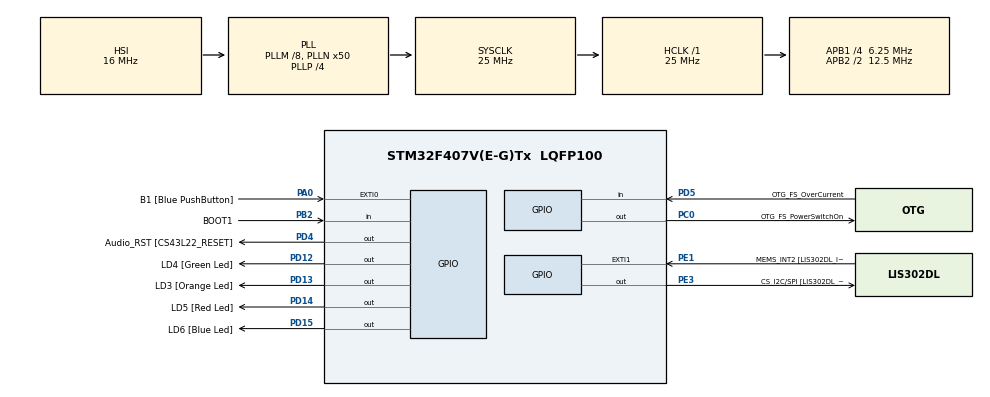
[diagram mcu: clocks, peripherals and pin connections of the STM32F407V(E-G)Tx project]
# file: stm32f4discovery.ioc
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Mcu.Family=STM32F4
Mcu.Name=STM32F407V(E-G)Tx
Mcu.Package=LQFP100
NVIC.PriorityGroup=NVIC_PRIORITYGROUP_0
PA0-WKUP.GPIO_Label=B1 [Blue PushButton]
PA0-WKUP.Signal=GPXTI0
PA10.GPIO_Label=OTG_FS_ID
PA10.GPIO_Mode=GPIO_MODE_AF_PP
PA10.GPIO_PuPd=GPIO_NOPULL
PA10.GPIO_Speed=GPIO_SPEED_FREQ_LOW
PA10.Signal=USB_OTG_FS_ID
PA11.GPIO_Label=OTG_FS_DM
PA11.GPIO_Mode=GPIO_MODE_AF_PP
PA11.GPIO_PuPd=GPIO_NOPULL
PA11.GPIO_Speed=GPIO_SPEED_FREQ_LOW
PA11.Signal=USB_OTG_FS_DM
PA12.GPIO_Label=OTG_FS_DP
PA12.GPIO_Mode=GPIO_MODE_AF_PP
PA12.GPIO_PuPd=GPIO_NOPULL
PA12.GPIO_Speed=GPIO_SPEED_FREQ_LOW
PA12.Signal=USB_OTG_FS_DP
PA13.GPIO_Label=SWDIO
PA13.Signal=SYS_JTMS-SWDIO
PA14.GPIO_Label=SWCLK
PA14.Signal=SYS_JTCK-SWCLK
PA4.GPIO_Label=I2S3_WS [CS43L22_LRCK]
PA4.GPIO_Mode=GPIO_MODE_AF_PP
PA4.GPIO_PuPd=GPIO_NOPULL
PA4.GPIO_Speed=GPIO_SPEED_FREQ_LOW
PA4.Signal=I2S3_WS
PA5.GPIO_Label=SPI1_SCK [LIS302DL_SCL/SPC]
PA5.GPIO_Mode=GPIO_MODE_AF_PP
PA5.GPIO_PuPd=GPIO_NOPULL
PA5.GPIO_Speed=GPIO_SPEED_FREQ_LOW
PA5.Signal=SPI1_SCK
PA6.GPIO_Label=SPI1_MISO [LIS302DL_SDO]
PA6.GPIO_Mode=GPIO_MODE_AF_PP
PA6.GPIO_PuPd=GPIO_NOPULL
PA6.GPIO_Speed=GPIO_SPEED_FREQ_LOW
PA6.Signal=SPI1_MISO
PA7.GPIO_Label=SPI1_MOSI [LIS302DL_SDA/SDI/SDO]
PA7.GPIO_Mode=GPIO_MODE_AF_PP
PA7.GPIO_PuPd=GPIO_NOPULL
PA7.GPIO_Speed=GPIO_SPEED_FREQ_LOW
PA7.Signal=SPI1_MOSI
PA9.GPIO_Label=VBUS_FS
PA9.GPIO_Mode=GPIO_MODE_INPUT
PA9.GPIO_PuPd=GPIO_NOPULL
PA9.Signal=USB_OTG_FS_VBUS
PB10.GPIO_Label=CLK_IN [MP45DT02_CLK]
PB10.GPIO_Mode=GPIO_MODE_AF_PP
PB10.GPIO_PuPd=GPIO_NOPULL
PB10.GPIO_Speed=GPIO_SPEED_FREQ_LOW
PB10.Signal=I2S2_CK
PB2.GPIO_Label=BOOT1
PB2.GPIO_Mode=GPIO_MODE_INPUT
PB2.GPIO_PuPd=GPIO_NOPULL
PB2.Signal=GPIO_Input
PB3.GPIO_Label=SWO
PB3.Signal=SYS_JTDO-SWO
PB6.GPIO_Label=Audio_SCL [CS43L22_SCL]
PB6.GPIO_Mode=GPIO_MODE_AF_OD
PB6.GPIO_PuPd=GPIO_NOPULL
PB6.GPIO_Speed=GPIO_SPEED_FREQ_LOW
PB6.Signal=I2C1_SCL
PB9.GPIO_Label=Audio_SDA [CS43L22_SDA]
PB9.GPIO_Mode=GPIO_MODE_AF_OD
PB9.GPIO_PuPd=GPIO_NOPULL
PB9.GPIO_Speed=GPIO_SPEED_FREQ_LOW
PB9.Signal=I2C1_SDA
PC0.GPIO_Label=OTG_FS_PowerSwitchOn
PC0.GPIO_PuPd=GPIO_NOPULL
PC0.GPIO_Speed=GPIO_SPEED_FREQ_LOW
PC0.PinState=GPIO_PIN_SET
PC0.Signal=GPIO_Output
PC10.GPIO_Label=I2S3_SCK [CS43L22_SCLK]
PC10.GPIO_Mode=GPIO_MODE_AF_PP
PC10.GPIO_PuPd=GPIO_NOPULL
PC10.GPIO_Speed=GPIO_SPEED_FREQ_LOW
PC10.Signal=I2S3_CK
PC12.GPIO_Label=I2S3_SD [CS43L22_SDIN]
PC12.GPIO_Mode=GPIO_MODE_AF_PP
PC12.GPIO_PuPd=GPIO_NOPULL
PC12.GPIO_Speed=GPIO_SPEED_FREQ_LOW
PC12.Signal=I2S3_SD
PC14-OSC32_IN.GPIO_Label=PC14-OSC32_IN
PC14-OSC32_IN.Signal=RCC_OSC32_IN
PC15-OSC32_OUT.GPIO_Label=PC15-OSC32_OUT
PC15-OSC32_OUT.Signal=RCC_OSC32_OUT
PC3.GPIO_Label=PDM_OUT [MP45DT02_DOUT]
PC3.GPIO_Mode=GPIO_MODE_AF_PP
PC3.GPIO_PuPd=GPIO_NOPULL
PC3.GPIO_Speed=GPIO_SPEED_FREQ_LOW
PC3.Signal=I2S2_SD
PC7.GPIO_Label=I2S3_MCK [CS43L22_MCLK]
PC7.GPIO_Mode=GPIO_MODE_AF_PP
PC7.GPIO_PuPd=GPIO_NOPULL
PC7.GPIO_Speed=GPIO_SPEED_FREQ_LOW
PC7.Signal=I2S3_MCK
PD12.GPIO_Label=LD4 [Green Led]
PD12.GPIO_PuPd=GPIO_NOPULL
PD12.GPIO_Speed=GPIO_SPEED_FREQ_LOW
PD12.Signal=GPIO_Output
PD13.GPIO_Label=LD3 [Orange Led]
PD13.GPIO_PuPd=GPIO_NOPULL
PD13.GPIO_Speed=GPIO_SPEED_FREQ_LOW
PD13.Signal=GPIO_Output
PD14.GPIO_Label=LD5 [Red Led]
PD14.GPIO_PuPd=GPIO_NOPULL
PD14.GPIO_Speed=GPIO_SPEED_FREQ_LOW
PD14.Signal=GPIO_Output
PD15.GPIO_Label=LD6 [Blue Led]
PD15.GPIO_PuPd=GPIO_NOPULL
PD15.GPIO_Speed=GPIO_SPEED_FREQ_LOW
PD15.Signal=GPIO_Output
PD4.GPIO_Label=Audio_RST [CS43L22_RESET]
PD4.GPIO_PuPd=GPIO_NOPULL
PD4.GPIO_Speed=GPIO_SPEED_FREQ_LOW
PD4.Signal=GPIO_Output
PD5.GPIO_Label=OTG_FS_OverCurrent
PD5.GPIO_Mode=GPIO_MODE_INPUT
PD5.GPIO_PuPd=GPIO_NOPULL
PD5.Signal=GPIO_Input
PE1.GPIO_Label=MEMS_INT2 [LIS302DL_INT2]
PE1.GPIO_ModeDefaultEXTI=GPIO_MODE_EVT_RISING
PE1.GPIO_PuPd=GPIO_NOPULL
PE1.Signal=GPXTI1
PE3.GPIO_Label=CS_I2C/SPI [LIS302DL_CS_I2C/SPI]
PE3.GPIO_PuPd=GPIO_NOPULL
PE3.GPIO_Speed=GPIO_SPEED_FREQ_LOW
PE3.Signal=GPIO_Output
PH0-OSC_IN.GPIO_Label=PH0-OSC_IN
PH0-OSC_IN.Signal=RCC_OSC_IN
PH1-OSC_OUT.GPIO_Label=PH1-OSC_OUT
PH1-OSC_OUT.Signal=RCC_OSC_OUT
ProjectManager.HeapSize=0x200
ProjectManager.StackSize=0x400
ProjectManager.TargetToolchain=MDK-ARM V5
RCC.48MHZClocksFreq_Value=14285714.285714285
RCC.AHBFreq_Value=25000000
RCC.APB1CLKDivider=RCC_HCLK_DIV4
RCC.APB1Freq_Value=6250000
RCC.APB1TimFreq_Value=12500000
RCC.APB2CLKDivider=RCC_HCLK_DIV2
RCC.APB2Freq_Value=12500000
RCC.APB2TimFreq_Value=25000000
RCC.CortexFreq_Value=25000000
RCC.HCLKFreq_Value=25000000
RCC.HSE_VALUE=8000000
RCC.HSI_VALUE=16000000
RCC.LSE_VALUE=32768
RCC.PLLM=8
RCC.PLLN=50
RCC.PLLP=RCC_PLLP_DIV4
RCC.PLLQ=7
RCC.SYSCLKFreq_VALUE=25000000
RCC.SYSCLKSource=RCC_SYSCLKSOURCE_PLLCLK
RCC.VCOOutputFreq_Value=100000000
board=STM32F4DISCOVERY

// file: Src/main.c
/**
  ******************************************************************************
  * File Name          : main.c
  * Description        : Main program body
  ******************************************************************************
  ** This notice applies to any and all portions of this file
  * that are not between comment pairs USER CODE BEGIN and
  * USER CODE END. Other portions of this file, whether
  * inserted by the user or by software development tools
  * are owned by their respective copyright owners.
  *
  * COPYRIGHT(c) 2018 STMicroelectronics
  *
  * Redistribution and use in source and binary forms, with or without modification,
  * are permitted provided that the following conditions are met:
  *   1. Redistributions of source code must retain the above copyright notice,
  *      this list of conditions and the following disclaimer.
  *   2. Redistributions in binary form must reproduce the above copyright notice,
  *      this list of conditions and the following disclaimer in the documentation
  *      and/or other materials provided with the distribution.
  *   3. Neither the name of STMicroelectronics nor the names of its contributors
  *      may be used to endorse or promote products derived from this software
  *      without specific prior written permission.
  *
  * THIS SOFTWARE IS PROVIDED BY THE COPYRIGHT HOLDERS AND CONTRIBUTORS "AS IS"
  * AND ANY EXPRESS OR IMPLIED WARRANTIES, INCLUDING, BUT NOT LIMITED TO, THE
  * IMPLIED WARRANTIES OF MERCHANTABILITY AND FITNESS FOR A PARTICULAR PURPOSE ARE
  * DISCLAIMED. IN NO EVENT SHALL THE COPYRIGHT HOLDER OR CONTRIBUTORS BE LIABLE
  * FOR ANY DIRECT, INDIRECT, INCIDENTAL, SPECIAL, EXEMPLARY, OR CONSEQUENTIAL
  * DAMAGES (INCLUDING, BUT NOT LIMITED TO, PROCUREMENT OF SUBSTITUTE GOODS OR
  * SERVICES; LOSS OF USE, DATA, OR PROFITS; OR BUSINESS INTERRUPTION) HOWEVER
  * CAUSED AND ON ANY THEORY OF LIABILITY, WHETHER IN CONTRACT, STRICT LIABILITY,
  * OR TORT (INCLUDING NEGLIGENCE OR OTHERWISE) ARISING IN ANY WAY OUT OF THE USE
  * OF THIS SOFTWARE, EVEN IF ADVISED OF THE POSSIBILITY OF SUCH DAMAGE.
  *
  ******************************************************************************
  */

#include "main.h"
#include "stm32f4xx_hal.h"

/* USER CODE BEGIN Includes */
#include "task_scheduler.h"
/* USER CODE END Includes */

/* USER CODE BEGIN PV */
/* Private variables ---------------------------------------------------------*/

/* USER CODE END PV */

void SystemClock_Config(void);
static void MX_GPIO_Init(void);

/* USER CODE BEGIN PFP */
/* Private function prototypes -----------------------------------------------*/

/* USER CODE END PFP */

/* USER CODE BEGIN 0 */

/* Task Functions ------------------------------------------------------------*/
int task_ld3_job(volatile Task_t *t)
{
	HAL_GPIO_TogglePin(LD3_GPIO_Port, LD3_Pin);
	return 0;
}

int task_ld4_job(volatile Task_t *t)
{
	HAL_GPIO_TogglePin(LD4_GPIO_Port, LD4_Pin);
	return 0;
}

int task_ld5_job(volatile Task_t *t)
{
	HAL_GPIO_TogglePin(LD5_GPIO_Port, LD5_Pin);
	return 0;
}

int task_ld6_job(volatile Task_t *t)
{
	HAL_GPIO_TogglePin(LD6_GPIO_Port, LD6_Pin);
	return 0;
}

/* Task Rules ---------------------------------------------------------------*/
BOOLEAN task_ld4_rule(volatile Task_t *t)
{
	if(HAL_GPIO_ReadPin(LD3_GPIO_Port, LD3_Pin))
		return TRUE;
	return FALSE;
}

BOOLEAN task_ld5_rule(volatile Task_t *t)
{
	static int8_t i = 0;
	i++;
	i %= 2;
	return (i>0);
}

/* USER CODE END 0 */

int main(void)
{

  /* MCU Configuration----------------------------------------------------------*/

  /* Reset of all peripherals, Initializes the Flash interface and the Systick. */
  HAL_Init();

  /* Configure the system clock */
  SystemClock_Config();

  /* Initialize all configured peripherals */
  MX_GPIO_Init();

  /* USER CODE BEGIN 2 */
	// use statistics, no delay between tasks.

	task_scheduler_init(TRUE, 0);
	task_scheduler_add(task_ld3_job, "LD3", NULL, TP_HIGHER, 0, 100, 0, NULL, FALSE);
	task_scheduler_add(task_ld4_job, "LD4", task_ld4_rule, TP_NORMAL, 0, 100, 0, NULL, FALSE);
	task_scheduler_add(task_ld5_job, "LD5", task_ld5_rule, TP_HIGHEST, 0, 100, 0, NULL, FALSE);
	task_scheduler_add(task_ld6_job, "LD6", NULL, TP_LOWER, 1, 100, 0, NULL, FALSE);

	task_start_all();
	task_scheduler_start();
  /* USER CODE END 2 */

  /* Infinite loop */
  while (1)
  {

  }

}

/** System Clock Configuration
*/
void SystemClock_Config(void)
{

  RCC_OscInitTypeDef RCC_OscInitStruct;
  RCC_ClkInitTypeDef RCC_ClkInitStruct;

    /**Configure the main internal regulator output voltage
    */
  __HAL_RCC_PWR_CLK_ENABLE();

  __HAL_PWR_VOLTAGESCALING_CONFIG(PWR_REGULATOR_VOLTAGE_SCALE1);

    /**Initializes the CPU, AHB and APB busses clocks
    */
  RCC_OscInitStruct.OscillatorType = RCC_OSCILLATORTYPE_HSI;
  RCC_OscInitStruct.HSIState = RCC_HSI_ON;
  RCC_OscInitStruct.HSICalibrationValue = 16;
  RCC_OscInitStruct.PLL.PLLState = RCC_PLL_ON;
  RCC_OscInitStruct.PLL.PLLSource = RCC_PLLSOURCE_HSI;
  RCC_OscInitStruct.PLL.PLLM = 8;
  RCC_OscInitStruct.PLL.PLLN = 50;
  RCC_OscInitStruct.PLL.PLLP = RCC_PLLP_DIV4;
  RCC_OscInitStruct.PLL.PLLQ = 7;
  if (HAL_RCC_OscConfig(&RCC_OscInitStruct) != HAL_OK)
  {
    _Error_Handler(__FILE__, __LINE__);
  }

    /**Initializes the CPU, AHB and APB busses clocks
    */
  RCC_ClkInitStruct.ClockType = RCC_CLOCKTYPE_HCLK|RCC_CLOCKTYPE_SYSCLK
                              |RCC_CLOCKTYPE_PCLK1|RCC_CLOCKTYPE_PCLK2;
  RCC_ClkInitStruct.SYSCLKSource = RCC_SYSCLKSOURCE_PLLCLK;
  RCC_ClkInitStruct.AHBCLKDivider = RCC_SYSCLK_DIV1;
  RCC_ClkInitStruct.APB1CLKDivider = RCC_HCLK_DIV4;
  RCC_ClkInitStruct.APB2CLKDivider = RCC_HCLK_DIV2;

  if (HAL_RCC_ClockConfig(&RCC_ClkInitStruct, FLASH_LATENCY_0) != HAL_OK)
  {
    _Error_Handler(__FILE__, __LINE__);
  }

    /**Configure the Systick interrupt time
    */
  HAL_SYSTICK_Config(HAL_RCC_GetHCLKFreq()/1000);

    /**Configure the Systick
    */
  HAL_SYSTICK_CLKSourceConfig(SYSTICK_CLKSOURCE_HCLK);

  /* SysTick_IRQn interrupt configuration */
  HAL_NVIC_SetPriority(SysTick_IRQn, 0, 0);
}

/** Configure pins as
        * Analog
        * Input
        * Output
        * EVENT_OUT
        * EXTI
     PC3   ------> I2S2_SD
     PA4   ------> I2S3_WS
     PA5   ------> SPI1_SCK
     PA6   ------> SPI1_MISO
     PA7   ------> SPI1_MOSI
     PB10   ------> I2S2_CK
     PC7   ------> I2S3_MCK
     PA9   ------> USB_OTG_FS_VBUS
     PA10   ------> USB_OTG_FS_ID
     PA11   ------> USB_OTG_FS_DM
     PA12   ------> USB_OTG_FS_DP
     PC10   ------> I2S3_CK
     PC12   ------> I2S3_SD
     PB6   ------> I2C1_SCL
     PB9   ------> I2C1_SDA
*/
static void MX_GPIO_Init(void)
{

  GPIO_InitTypeDef GPIO_InitStruct;

  /* GPIO Ports Clock Enable */
  __HAL_RCC_GPIOE_CLK_ENABLE();
  __HAL_RCC_GPIOC_CLK_ENABLE();
  __HAL_RCC_GPIOH_CLK_ENABLE();
  __HAL_RCC_GPIOA_CLK_ENABLE();
  __HAL_RCC_GPIOB_CLK_ENABLE();
  __HAL_RCC_GPIOD_CLK_ENABLE();

  /*Configure GPIO pin Output Level */
  HAL_GPIO_WritePin(CS_I2C_SPI_GPIO_Port, CS_I2C_SPI_Pin, GPIO_PIN_RESET);

  /*Configure GPIO pin Output Level */
  HAL_GPIO_WritePin(OTG_FS_PowerSwitchOn_GPIO_Port, OTG_FS_PowerSwitchOn_Pin, GPIO_PIN_SET);

  /*Configure GPIO pin Output Level */
  HAL_GPIO_WritePin(GPIOD, LD4_Pin|LD3_Pin|LD5_Pin|LD6_Pin
                          |Audio_RST_Pin, GPIO_PIN_RESET);

  /*Configure GPIO pin : CS_I2C_SPI_Pin */
  GPIO_InitStruct.Pin = CS_I2C_SPI_Pin;
  GPIO_InitStruct.Mode = GPIO_MODE_OUTPUT_PP;
  GPIO_InitStruct.Pull = GPIO_NOPULL;
  GPIO_InitStruct.Speed = GPIO_SPEED_FREQ_LOW;
  HAL_GPIO_Init(CS_I2C_SPI_GPIO_Port, &GPIO_InitStruct);

  /*Configure GPIO pin : OTG_FS_PowerSwitchOn_Pin */
  GPIO_InitStruct.Pin = OTG_FS_PowerSwitchOn_Pin;
  GPIO_InitStruct.Mode = GPIO_MODE_OUTPUT_PP;
  GPIO_InitStruct.Pull = GPIO_NOPULL;
  GPIO_InitStruct.Speed = GPIO_SPEED_FREQ_LOW;
  HAL_GPIO_Init(OTG_FS_PowerSwitchOn_GPIO_Port, &GPIO_InitStruct);

  /*Configure GPIO pin : PDM_OUT_Pin */
  GPIO_InitStruct.Pin = PDM_OUT_Pin;
  GPIO_InitStruct.Mode = GPIO_MODE_AF_PP;
  GPIO_InitStruct.Pull = GPIO_NOPULL;
  GPIO_InitStruct.Speed = GPIO_SPEED_FREQ_LOW;
  GPIO_InitStruct.Alternate = GPIO_AF5_SPI2;
  HAL_GPIO_Init(PDM_OUT_GPIO_Port, &GPIO_InitStruct);

  /*Configure GPIO pin : B1_Pin */
  GPIO_InitStruct.Pin = B1_Pin;
  GPIO_InitStruct.Mode = GPIO_MODE_IT_RISING;
  GPIO_InitStruct.Pull = GPIO_NOPULL;
  HAL_GPIO_Init(B1_GPIO_Port, &GPIO_InitStruct);

  /*Configure GPIO pin : I2S3_WS_Pin */
  GPIO_InitStruct.Pin = I2S3_WS_Pin;
  GPIO_InitStruct.Mode = GPIO_MODE_AF_PP;
  GPIO_InitStruct.Pull = GPIO_NOPULL;
  GPIO_InitStruct.Speed = GPIO_SPEED_FREQ_LOW;
  GPIO_InitStruct.Alternate = GPIO_AF6_SPI3;
  HAL_GPIO_Init(I2S3_WS_GPIO_Port, &GPIO_InitStruct);

  /*Configure GPIO pins : SPI1_SCK_Pin SPI1_MISO_Pin SPI1_MOSI_Pin */
  GPIO_InitStruct.Pin = SPI1_SCK_Pin|SPI1_MISO_Pin|SPI1_MOSI_Pin;
  GPIO_InitStruct.Mode = GPIO_MODE_AF_PP;
  GPIO_InitStruct.Pull = GPIO_NOPULL;
  GPIO_InitStruct.Speed = GPIO_SPEED_FREQ_LOW;
  GPIO_InitStruct.Alternate = GPIO_AF5_SPI1;
  HAL_GPIO_Init(GPIOA, &GPIO_InitStruct);

  /*Configure GPIO pin : BOOT1_Pin */
  GPIO_InitStruct.Pin = BOOT1_Pin;
  GPIO_InitStruct.Mode = GPIO_MODE_INPUT;
  GPIO_InitStruct.Pull = GPIO_NOPULL;
  HAL_GPIO_Init(BOOT1_GPIO_Port, &GPIO_InitStruct);

  /*Configure GPIO pin : CLK_IN_Pin */
  GPIO_InitStruct.Pin = CLK_IN_Pin;
  GPIO_InitStruct.Mode = GPIO_MODE_AF_PP;
  GPIO_InitStruct.Pull = GPIO_NOPULL;
  GPIO_InitStruct.Speed = GPIO_SPEED_FREQ_LOW;
  GPIO_InitStruct.Alternate = GPIO_AF5_SPI2;
  HAL_GPIO_Init(CLK_IN_GPIO_Port, &GPIO_InitStruct);

  /*Configure GPIO pins : LD4_Pin LD3_Pin LD5_Pin LD6_Pin
                           Audio_RST_Pin */
  GPIO_InitStruct.Pin = LD4_Pin|LD3_Pin|LD5_Pin|LD6_Pin
                          |Audio_RST_Pin;
  GPIO_InitStruct.Mode = GPIO_MODE_OUTPUT_PP;
  GPIO_InitStruct.Pull = GPIO_NOPULL;
  GPIO_InitStruct.Speed = GPIO_SPEED_FREQ_LOW;
  HAL_GPIO_Init(GPIOD, &GPIO_InitStruct);

  /*Configure GPIO pins : I2S3_MCK_Pin I2S3_SCK_Pin I2S3_SD_Pin */
  GPIO_InitStruct.Pin = I2S3_MCK_Pin|I2S3_SCK_Pin|I2S3_SD_Pin;
  GPIO_InitStruct.Mode = GPIO_MODE_AF_PP;
  GPIO_InitStruct.Pull = GPIO_NOPULL;
  GPIO_InitStruct.Speed = GPIO_SPEED_FREQ_LOW;
  GPIO_InitStruct.Alternate = GPIO_AF6_SPI3;
  HAL_GPIO_Init(GPIOC, &GPIO_InitStruct);

  /*Configure GPIO pin : VBUS_FS_Pin */
  GPIO_InitStruct.Pin = VBUS_FS_Pin;
  GPIO_InitStruct.Mode = GPIO_MODE_INPUT;
  GPIO_InitStruct.Pull = GPIO_NOPULL;
  HAL_GPIO_Init(VBUS_FS_GPIO_Port, &GPIO_InitStruct);

  /*Configure GPIO pins : OTG_FS_ID_Pin OTG_FS_DM_Pin OTG_FS_DP_Pin */
  GPIO_InitStruct.Pin = OTG_FS_ID_Pin|OTG_FS_DM_Pin|OTG_FS_DP_Pin;
  GPIO_InitStruct.Mode = GPIO_MODE_AF_PP;
  GPIO_InitStruct.Pull = GPIO_NOPULL;
  GPIO_InitStruct.Speed = GPIO_SPEED_FREQ_LOW;
  GPIO_InitStruct.Alternate = GPIO_AF10_OTG_FS;
  HAL_GPIO_Init(GPIOA, &GPIO_InitStruct);

  /*Configure GPIO pin : OTG_FS_OverCurrent_Pin */
  GPIO_InitStruct.Pin = OTG_FS_OverCurrent_Pin;
  GPIO_InitStruct.Mode = GPIO_MODE_INPUT;
  GPIO_InitStruct.Pull = GPIO_NOPULL;
  HAL_GPIO_Init(OTG_FS_OverCurrent_GPIO_Port, &GPIO_InitStruct);

  /*Configure GPIO pins : Audio_SCL_Pin Audio_SDA_Pin */
  GPIO_InitStruct.Pin = Audio_SCL_Pin|Audio_SDA_Pin;
  GPIO_InitStruct.Mode = GPIO_MODE_AF_OD;
  GPIO_InitStruct.Pull = GPIO_PULLUP;
  GPIO_InitStruct.Speed = GPIO_SPEED_FREQ_LOW;
  GPIO_InitStruct.Alternate = GPIO_AF4_I2C1;
  HAL_GPIO_Init(GPIOB, &GPIO_InitStruct);

  /*Configure GPIO pin : MEMS_INT2_Pin */
  GPIO_InitStruct.Pin = MEMS_INT2_Pin;
  GPIO_InitStruct.Mode = GPIO_MODE_EVT_RISING;
  GPIO_InitStruct.Pull = GPIO_NOPULL;
  HAL_GPIO_Init(MEMS_INT2_GPIO_Port, &GPIO_InitStruct);

}

void _Error_Handler(char * file, int line)
{
  while(1)
  {
  }
}

/************************ (C) COPYRIGHT STMicroelectronics *****END OF FILE****/
